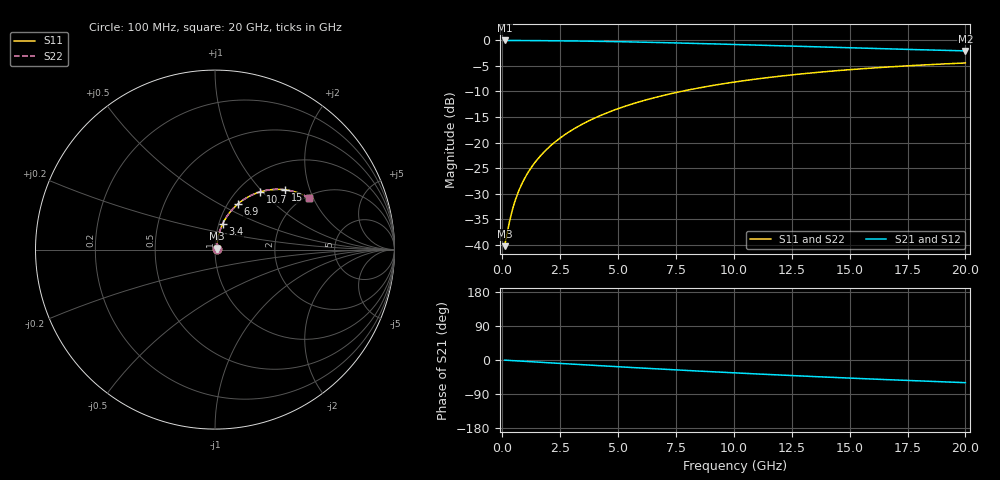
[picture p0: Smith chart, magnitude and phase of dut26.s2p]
! Touchstone file exported from HFSS 2026.1.0
!  File:  C:/ffzhzh/LocalFiles/Ansys_Project_Files/temp_train_BSMRDL_26_1782882108_42304.aedt
!  Generated:  01:03:11 PM Jul  1, 2026
!  Design:  BSMRDL
!  Project:  temp_train_BSMRDL_26_1782882108_42304
! Variables:
!  h_bsmrdl = 2.97um
!  h_ox = 20um
!  h_rdl = 5um
!  h_sub = 80um
!  h_tmrdl = 5um
!  h_tsv = 80um
!  h_via = 3um
!  l_bsmrdl = 881.74um
!  l_sub = 1281.74um
!  l_tmrdl = 200um
!  m_sub = 200um
!  pitch = 44.36um
!  r_tsv = 6um
!  s_tmrdl = 10um
!  w_bsmrdl = 12.2um
!  w_sub = 500um
!  w_tmrdl = 12um
!  x_tsv_center1 = 206um
!  x_tsv_center2 = 1099.94um
!  x_tsv_center3 = 1311.94um
!  x_tsv_center4 = 2205.88um
!  x_tsv_center5 = 2417.88um
!  x_tsv_center6 = 3311.82um
# GHz S MA R 50.000000
! Terminal data exported
! Port[1] = BSM_RDL1_1_T1
! Port[2] = BSM_RDL1_1_T2
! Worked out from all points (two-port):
!   200 points, 100 MHz to 20 GHz, reference 50 ohm
!   highest |S21| = -0.07 dB at 100 MHz (marker M1); lowest = -2.1 dB at 20 GHz (marker M2)
!   |S21| within 3 dB of the highest: start of sweep to end of sweep
!   lowest |S11| = -40.2 dB at 100 MHz (marker M3), VSWR 1.02, Z = 50.9 + j0.469 ohm
!   |S11| at or under -10 dB: start of sweep to 7.753 GHz
!   |S22| runs from -40.2 to -4.5 dB; largest |S21 - S12| = 1.2e-14
!   S11 on the Smith chart (normalised r, x): 100 MHz: 1.02, +0.01; 3.4 GHz: 1.04, +0.30; 6.9 GHz: 1.11, +0.62; 10.7 GHz: 1.26, +0.97; 15 GHz: 1.53, +1.39; 20 GHz: 2.09, +1.86
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0.1  0.009734 28.3  0.9914 -0.4  0.9914 -0.4  0.009734 28.3
! Gamma 0 0 0 0
! Port Impedance 50 0 50 0
0.3  0.01645 56.7  0.9911 -1.1  0.9911 -1.1  0.01645 56.7
0.4  0.02051 62.8  0.9909 -1.5  0.9909 -1.5  0.02051 62.8
0.5  0.02471 66.6  0.9907 -1.9  0.9907 -1.9  0.02471 66.6
0.6  0.02896 69.2  0.9904 -2.2  0.9904 -2.2  0.02896 69.2
0.8  0.03753 72.4  0.9899 -3.0  0.9899 -3.0  0.03753 72.4
1.1  0.05045 74.8  0.989 -4.0  0.989 -4.0  0.05045 74.8
1.6  0.07203 76.1  0.9873 -5.8  0.9873 -5.8  0.07203 76.1
2.1  0.09358 76.0  0.9853 -7.6  0.9853 -7.6  0.09358 76.0
2.7  0.1193 75.1  0.9822 -9.8  0.9822 -9.8  0.1193 75.1
3.4  0.1488 73.5  0.9779 -12.2  0.9779 -12.2  0.1488 73.5
3.5  0.153 73.2  0.9772 -12.6  0.9772 -12.6  0.153 73.3
5  0.2141 69.0  0.9649 -17.8  0.9649 -17.8  0.2141 69.0
6.8  0.2825 63.5  0.9462 -23.8  0.9462 -23.8  0.2825 63.5
6.9  0.2861 63.2  0.945 -24.2  0.945 -24.2  0.2861 63.2
8.4  0.3381 58.6  0.927 -29.0  0.927 -29.0  0.3381 58.7
10.1  0.3916 53.6  0.9051 -34.2  0.9051 -34.2  0.3916 53.6
10.7  0.4091 51.9  0.8971 -35.9  0.8971 -35.9  0.4091 51.9
13.4  0.479 44.5  0.8614 -43.6  0.8614 -43.6  0.479 44.5
15  0.5141 40.3  0.8408 -47.8  0.8408 -47.8  0.5141 40.4
16.7  0.5468 36.2  0.8202 -52.0  0.8202 -52.0  0.5468 36.2
20  0.5979 28.6  0.7844 -59.8  0.7844 -59.8  0.5979 28.7
